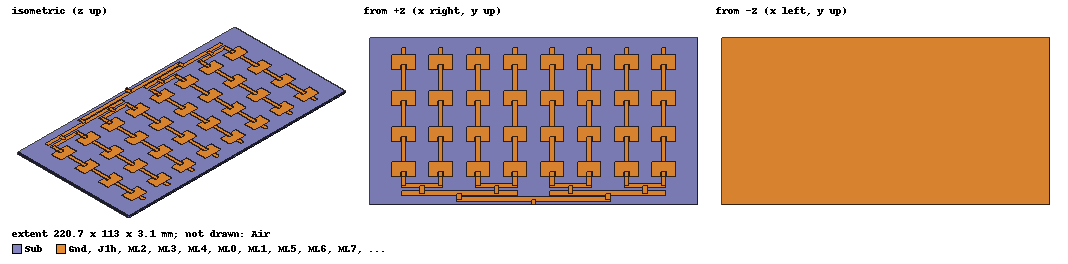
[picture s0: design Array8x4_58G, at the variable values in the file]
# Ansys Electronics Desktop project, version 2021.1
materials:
  vacuum: permittivity=1
  FR4_epoxy: permittivity=4.4 dielectric_loss_tangent=0.02

design Array8x4_58G (HFSS, DrivenModal, model units mm)
options: Save_Adaptive_support_files
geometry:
  Sub [FR4_epoxy] = box(corner=(0mm, 0mm, -1.6mm), size=(220.74mm, 113mm, 1.6mm))
  Gnd = rectangle(corner=(0mm, 0mm, -1.6mm), x_size=220.74mm, y_size=113mm)
  FeedIn = rectangle(corner=(108.82mm, 0mm, 0mm), x_size=3.1mm, y_size=4mm)
  J1h = rectangle(corner=(58.82mm, 2.45mm, 0mm), x_size=103.1mm, y_size=3.1mm)
  J1vl = rectangle(corner=(58.82mm, 4mm, 0mm), x_size=3.1mm, y_size=4mm)
  J1vr = rectangle(corner=(158.82mm, 4mm, 0mm), x_size=3.1mm, y_size=4mm)
  J2hL = rectangle(corner=(21.32mm, 6.45mm, 0mm), x_size=78.1mm, y_size=3.1mm)
  J2hR = rectangle(corner=(121.32mm, 6.45mm, 0mm), x_size=78.1mm, y_size=3.1mm)
  J2v_01 = rectangle(corner=(33.82mm, 8mm, 0mm), x_size=3.1mm, y_size=5mm)
  J2v_23 = rectangle(corner=(83.82mm, 8mm, 0mm), x_size=3.1mm, y_size=5mm)
  J2v_45 = rectangle(corner=(133.82mm, 8mm, 0mm), x_size=3.1mm, y_size=5mm)
  J2v_67 = rectangle(corner=(183.82mm, 8mm, 0mm), x_size=3.1mm, y_size=5mm)
  J3h_01 = rectangle(corner=(21.32mm, 11.45mm, 0mm), x_size=28.1mm, y_size=3.1mm)
  J3v_0 = rectangle(corner=(21.32mm, 13mm, 0mm), x_size=3.1mm, y_size=6mm)
  J3v_1 = rectangle(corner=(46.32mm, 13mm, 0mm), x_size=3.1mm, y_size=6mm)
  J3h_23 = rectangle(corner=(71.32mm, 11.45mm, 0mm), x_size=28.1mm, y_size=3.1mm)
  J3v_2 = rectangle(corner=(71.32mm, 13mm, 0mm), x_size=3.1mm, y_size=6mm)
  J3v_3 = rectangle(corner=(96.32mm, 13mm, 0mm), x_size=3.1mm, y_size=6mm)
  J3h_45 = rectangle(corner=(121.32mm, 11.45mm, 0mm), x_size=28.1mm, y_size=3.1mm)
  J3v_4 = rectangle(corner=(121.32mm, 13mm, 0mm), x_size=3.1mm, y_size=6mm)
  J3v_5 = rectangle(corner=(146.32mm, 13mm, 0mm), x_size=3.1mm, y_size=6mm)
  J3h_67 = rectangle(corner=(171.32mm, 11.45mm, 0mm), x_size=28.1mm, y_size=3.1mm)
  J3v_6 = rectangle(corner=(171.32mm, 13mm, 0mm), x_size=3.1mm, y_size=6mm)
  J3v_7 = rectangle(corner=(196.32mm, 13mm, 0mm), x_size=3.1mm, y_size=6mm)
  ML0 = rectangle(corner=(21.32mm, 19mm, 0mm), x_size=3.1mm, y_size=87mm)
  C0R0L = rectangle(corner=(15mm, 19mm, 0mm), x_size=5.82mm, y_size=10mm)
  C0R0R = rectangle(corner=(24.92mm, 19mm, 0mm), x_size=5.82mm, y_size=10mm)
  C0R0T = rectangle(corner=(15mm, 22.3mm, 0mm), x_size=15.74mm, y_size=6.7mm)
  C0R0L.unite(C0R0R, C0R0T)
  C0R1L = rectangle(corner=(15mm, 43mm, 0mm), x_size=5.82mm, y_size=10mm)
  C0R1R = rectangle(corner=(24.92mm, 43mm, 0mm), x_size=5.82mm, y_size=10mm)
  C0R1T = rectangle(corner=(15mm, 46.3mm, 0mm), x_size=15.74mm, y_size=6.7mm)
  C0R1L.unite(C0R1R, C0R1T)
  C0R2L = rectangle(corner=(15mm, 67mm, 0mm), x_size=5.82mm, y_size=10mm)
  C0R2R = rectangle(corner=(24.92mm, 67mm, 0mm), x_size=5.82mm, y_size=10mm)
  C0R2T = rectangle(corner=(15mm, 70.3mm, 0mm), x_size=15.74mm, y_size=6.7mm)
  C0R2L.unite(C0R2R, C0R2T)
  C0R3L = rectangle(corner=(15mm, 91mm, 0mm), x_size=5.82mm, y_size=10mm)
  C0R3R = rectangle(corner=(24.92mm, 91mm, 0mm), x_size=5.82mm, y_size=10mm)
  C0R3T = rectangle(corner=(15mm, 94.3mm, 0mm), x_size=15.74mm, y_size=6.7mm)
  C0R3L.unite(C0R3R, C0R3T)
  ML1 = rectangle(corner=(46.32mm, 19mm, 0mm), x_size=3.1mm, y_size=87mm)
  C1R0L = rectangle(corner=(40mm, 19mm, 0mm), x_size=5.82mm, y_size=10mm)
  C1R0R = rectangle(corner=(49.92mm, 19mm, 0mm), x_size=5.82mm, y_size=10mm)
  C1R0T = rectangle(corner=(40mm, 22.3mm, 0mm), x_size=15.74mm, y_size=6.7mm)
  C1R0L.unite(C1R0R, C1R0T)
  C1R1L = rectangle(corner=(40mm, 43mm, 0mm), x_size=5.82mm, y_size=10mm)
  C1R1R = rectangle(corner=(49.92mm, 43mm, 0mm), x_size=5.82mm, y_size=10mm)
  C1R1T = rectangle(corner=(40mm, 46.3mm, 0mm), x_size=15.74mm, y_size=6.7mm)
  C1R1L.unite(C1R1R, C1R1T)
  C1R2L = rectangle(corner=(40mm, 67mm, 0mm), x_size=5.82mm, y_size=10mm)
  C1R2R = rectangle(corner=(49.92mm, 67mm, 0mm), x_size=5.82mm, y_size=10mm)
  C1R2T = rectangle(corner=(40mm, 70.3mm, 0mm), x_size=15.74mm, y_size=6.7mm)
  C1R2L.unite(C1R2R, C1R2T)
  C1R3L = rectangle(corner=(40mm, 91mm, 0mm), x_size=5.82mm, y_size=10mm)
  C1R3R = rectangle(corner=(49.92mm, 91mm, 0mm), x_size=5.82mm, y_size=10mm)
  C1R3T = rectangle(corner=(40mm, 94.3mm, 0mm), x_size=15.74mm, y_size=6.7mm)
  C1R3L.unite(C1R3R, C1R3T)
  ML2 = rectangle(corner=(71.32mm, 19mm, 0mm), x_size=3.1mm, y_size=87mm)
  C2R0L = rectangle(corner=(65mm, 19mm, 0mm), x_size=5.82mm, y_size=10mm)
  C2R0R = rectangle(corner=(74.92mm, 19mm, 0mm), x_size=5.82mm, y_size=10mm)
  C2R0T = rectangle(corner=(65mm, 22.3mm, 0mm), x_size=15.74mm, y_size=6.7mm)
  C2R0L.unite(C2R0R, C2R0T)
  C2R1L = rectangle(corner=(65mm, 43mm, 0mm), x_size=5.82mm, y_size=10mm)
  C2R1R = rectangle(corner=(74.92mm, 43mm, 0mm), x_size=5.82mm, y_size=10mm)
  C2R1T = rectangle(corner=(65mm, 46.3mm, 0mm), x_size=15.74mm, y_size=6.7mm)
  C2R1L.unite(C2R1R, C2R1T)
  C2R2L = rectangle(corner=(65mm, 67mm, 0mm), x_size=5.82mm, y_size=10mm)
  C2R2R = rectangle(corner=(74.92mm, 67mm, 0mm), x_size=5.82mm, y_size=10mm)
  C2R2T = rectangle(corner=(65mm, 70.3mm, 0mm), x_size=15.74mm, y_size=6.7mm)
  C2R2L.unite(C2R2R, C2R2T)
  C2R3L = rectangle(corner=(65mm, 91mm, 0mm), x_size=5.82mm, y_size=10mm)
  C2R3R = rectangle(corner=(74.92mm, 91mm, 0mm), x_size=5.82mm, y_size=10mm)
  C2R3T = rectangle(corner=(65mm, 94.3mm, 0mm), x_size=15.74mm, y_size=6.7mm)
  C2R3L.unite(C2R3R, C2R3T)
  ML3 = rectangle(corner=(96.32mm, 19mm, 0mm), x_size=3.1mm, y_size=87mm)
  C3R0L = rectangle(corner=(90mm, 19mm, 0mm), x_size=5.82mm, y_size=10mm)
  C3R0R = rectangle(corner=(99.92mm, 19mm, 0mm), x_size=5.82mm, y_size=10mm)
  C3R0T = rectangle(corner=(90mm, 22.3mm, 0mm), x_size=15.74mm, y_size=6.7mm)
  C3R0L.unite(C3R0R, C3R0T)
  C3R1L = rectangle(corner=(90mm, 43mm, 0mm), x_size=5.82mm, y_size=10mm)
  C3R1R = rectangle(corner=(99.92mm, 43mm, 0mm), x_size=5.82mm, y_size=10mm)
  C3R1T = rectangle(corner=(90mm, 46.3mm, 0mm), x_size=15.74mm, y_size=6.7mm)
  C3R1L.unite(C3R1R, C3R1T)
  C3R2L = rectangle(corner=(90mm, 67mm, 0mm), x_size=5.82mm, y_size=10mm)
  C3R2R = rectangle(corner=(99.92mm, 67mm, 0mm), x_size=5.82mm, y_size=10mm)
  C3R2T = rectangle(corner=(90mm, 70.3mm, 0mm), x_size=15.74mm, y_size=6.7mm)
  C3R2L.unite(C3R2R, C3R2T)
  C3R3L = rectangle(corner=(90mm, 91mm, 0mm), x_size=5.82mm, y_size=10mm)
  C3R3R = rectangle(corner=(99.92mm, 91mm, 0mm), x_size=5.82mm, y_size=10mm)
  C3R3T = rectangle(corner=(90mm, 94.3mm, 0mm), x_size=15.74mm, y_size=6.7mm)
  C3R3L.unite(C3R3R, C3R3T)
  ML4 = rectangle(corner=(121.32mm, 19mm, 0mm), x_size=3.1mm, y_size=87mm)
  C4R0L = rectangle(corner=(115mm, 19mm, 0mm), x_size=5.82mm, y_size=10mm)
  C4R0R = rectangle(corner=(124.92mm, 19mm, 0mm), x_size=5.82mm, y_size=10mm)
  C4R0T = rectangle(corner=(115mm, 22.3mm, 0mm), x_size=15.74mm, y_size=6.7mm)
  C4R0L.unite(C4R0R, C4R0T)
  C4R1L = rectangle(corner=(115mm, 43mm, 0mm), x_size=5.82mm, y_size=10mm)
  C4R1R = rectangle(corner=(124.92mm, 43mm, 0mm), x_size=5.82mm, y_size=10mm)
  C4R1T = rectangle(corner=(115mm, 46.3mm, 0mm), x_size=15.74mm, y_size=6.7mm)
  C4R1L.unite(C4R1R, C4R1T)
  C4R2L = rectangle(corner=(115mm, 67mm, 0mm), x_size=5.82mm, y_size=10mm)
  C4R2R = rectangle(corner=(124.92mm, 67mm, 0mm), x_size=5.82mm, y_size=10mm)
  C4R2T = rectangle(corner=(115mm, 70.3mm, 0mm), x_size=15.74mm, y_size=6.7mm)
  C4R2L.unite(C4R2R, C4R2T)
  C4R3L = rectangle(corner=(115mm, 91mm, 0mm), x_size=5.82mm, y_size=10mm)
  C4R3R = rectangle(corner=(124.92mm, 91mm, 0mm), x_size=5.82mm, y_size=10mm)
  C4R3T = rectangle(corner=(115mm, 94.3mm, 0mm), x_size=15.74mm, y_size=6.7mm)
  C4R3L.unite(C4R3R, C4R3T)
  ML5 = rectangle(corner=(146.32mm, 19mm, 0mm), x_size=3.1mm, y_size=87mm)
  C5R0L = rectangle(corner=(140mm, 19mm, 0mm), x_size=5.82mm, y_size=10mm)
  C5R0R = rectangle(corner=(149.92mm, 19mm, 0mm), x_size=5.82mm, y_size=10mm)
  C5R0T = rectangle(corner=(140mm, 22.3mm, 0mm), x_size=15.74mm, y_size=6.7mm)
  C5R0L.unite(C5R0R, C5R0T)
  C5R1L = rectangle(corner=(140mm, 43mm, 0mm), x_size=5.82mm, y_size=10mm)
  C5R1R = rectangle(corner=(149.92mm, 43mm, 0mm), x_size=5.82mm, y_size=10mm)
  C5R1T = rectangle(corner=(140mm, 46.3mm, 0mm), x_size=15.74mm, y_size=6.7mm)
  C5R1L.unite(C5R1R, C5R1T)
  C5R2L = rectangle(corner=(140mm, 67mm, 0mm), x_size=5.82mm, y_size=10mm)
  C5R2R = rectangle(corner=(149.92mm, 67mm, 0mm), x_size=5.82mm, y_size=10mm)
  C5R2T = rectangle(corner=(140mm, 70.3mm, 0mm), x_size=15.74mm, y_size=6.7mm)
  C5R2L.unite(C5R2R, C5R2T)
  C5R3L = rectangle(corner=(140mm, 91mm, 0mm), x_size=5.82mm, y_size=10mm)
  C5R3R = rectangle(corner=(149.92mm, 91mm, 0mm), x_size=5.82mm, y_size=10mm)
  C5R3T = rectangle(corner=(140mm, 94.3mm, 0mm), x_size=15.74mm, y_size=6.7mm)
  C5R3L.unite(C5R3R, C5R3T)
  ML6 = rectangle(corner=(171.32mm, 19mm, 0mm), x_size=3.1mm, y_size=87mm)
  C6R0L = rectangle(corner=(165mm, 19mm, 0mm), x_size=5.82mm, y_size=10mm)
  C6R0R = rectangle(corner=(174.92mm, 19mm, 0mm), x_size=5.82mm, y_size=10mm)
  C6R0T = rectangle(corner=(165mm, 22.3mm, 0mm), x_size=15.74mm, y_size=6.7mm)
  C6R0L.unite(C6R0R, C6R0T)
  C6R1L = rectangle(corner=(165mm, 43mm, 0mm), x_size=5.82mm, y_size=10mm)
  C6R1R = rectangle(corner=(174.92mm, 43mm, 0mm), x_size=5.82mm, y_size=10mm)
  C6R1T = rectangle(corner=(165mm, 46.3mm, 0mm), x_size=15.74mm, y_size=6.7mm)
  C6R1L.unite(C6R1R, C6R1T)
  C6R2L = rectangle(corner=(165mm, 67mm, 0mm), x_size=5.82mm, y_size=10mm)
  C6R2R = rectangle(corner=(174.92mm, 67mm, 0mm), x_size=5.82mm, y_size=10mm)
  C6R2T = rectangle(corner=(165mm, 70.3mm, 0mm), x_size=15.74mm, y_size=6.7mm)
  C6R2L.unite(C6R2R, C6R2T)
  C6R3L = rectangle(corner=(165mm, 91mm, 0mm), x_size=5.82mm, y_size=10mm)
  C6R3R = rectangle(corner=(174.92mm, 91mm, 0mm), x_size=5.82mm, y_size=10mm)
  C6R3T = rectangle(corner=(165mm, 94.3mm, 0mm), x_size=15.74mm, y_size=6.7mm)
  C6R3L.unite(C6R3R, C6R3T)
  ML7 = rectangle(corner=(196.32mm, 19mm, 0mm), x_size=3.1mm, y_size=87mm)
  C7R0L = rectangle(corner=(190mm, 19mm, 0mm), x_size=5.82mm, y_size=10mm)
  C7R0R = rectangle(corner=(199.92mm, 19mm, 0mm), x_size=5.82mm, y_size=10mm)
  C7R0T = rectangle(corner=(190mm, 22.3mm, 0mm), x_size=15.74mm, y_size=6.7mm)
  C7R0L.unite(C7R0R, C7R0T)
  C7R1L = rectangle(corner=(190mm, 43mm, 0mm), x_size=5.82mm, y_size=10mm)
  C7R1R = rectangle(corner=(199.92mm, 43mm, 0mm), x_size=5.82mm, y_size=10mm)
  C7R1T = rectangle(corner=(190mm, 46.3mm, 0mm), x_size=15.74mm, y_size=6.7mm)
  C7R1L.unite(C7R1R, C7R1T)
  C7R2L = rectangle(corner=(190mm, 67mm, 0mm), x_size=5.82mm, y_size=10mm)
  C7R2R = rectangle(corner=(199.92mm, 67mm, 0mm), x_size=5.82mm, y_size=10mm)
  C7R2T = rectangle(corner=(190mm, 70.3mm, 0mm), x_size=15.74mm, y_size=6.7mm)
  C7R2L.unite(C7R2R, C7R2T)
  C7R3L = rectangle(corner=(190mm, 91mm, 0mm), x_size=5.82mm, y_size=10mm)
  C7R3R = rectangle(corner=(199.92mm, 91mm, 0mm), x_size=5.82mm, y_size=10mm)
  C7R3T = rectangle(corner=(190mm, 94.3mm, 0mm), x_size=15.74mm, y_size=6.7mm)
  C7R3L.unite(C7R3R, C7R3T)
  Port1 = rectangle(corner=(108.82mm, 0mm, -1.6mm), z_size=3.1mm, x_size=1.6mm)
  Air [vacuum] = box(corner=(-15mm, -15mm, -16.6mm), size=(250.74mm, 143mm, 31.6mm))
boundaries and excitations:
  PE1: Perfect E Objects=Gnd
  PE2: Perfect E Objects=FeedIn
  PE3: Perfect E Objects=J1h
  PE4: Perfect E Objects=J1vl
  PE5: Perfect E Objects=J1vr
  PE6: Perfect E Objects=J2hL
  PE7: Perfect E Objects=J2hR
  PE8: Perfect E Objects=J2v_01
  PE9: Perfect E Objects=J2v_23
  PE10: Perfect E Objects=J2v_45
  PE11: Perfect E Objects=J2v_67
  PE12: Perfect E Objects=J3h_01
  PE13: Perfect E Objects=J3v_0
  PE14: Perfect E Objects=J3v_1
  PE15: Perfect E Objects=J3h_23
  PE16: Perfect E Objects=J3v_2
  PE17: Perfect E Objects=J3v_3
  PE18: Perfect E Objects=J3h_45
  PE19: Perfect E Objects=J3v_4
  PE20: Perfect E Objects=J3v_5
  PE21: Perfect E Objects=J3h_67
  PE22: Perfect E Objects=J3v_6
  PE23: Perfect E Objects=J3v_7
  PE24: Perfect E Objects=ML0
  PE25: Perfect E Objects=C0R0L
  PE26: Perfect E Objects=C0R1L
  PE27: Perfect E Objects=C0R2L
  PE28: Perfect E Objects=C0R3L
  PE29: Perfect E Objects=ML1
  PE30: Perfect E Objects=C1R0L
  PE31: Perfect E Objects=C1R1L
  PE32: Perfect E Objects=C1R2L
  PE33: Perfect E Objects=C1R3L
  PE34: Perfect E Objects=ML2
  PE35: Perfect E Objects=C2R0L
  PE36: Perfect E Objects=C2R1L
  PE37: Perfect E Objects=C2R2L
  PE38: Perfect E Objects=C2R3L
  PE39: Perfect E Objects=ML3
  PE40: Perfect E Objects=C3R0L
  PE41: Perfect E Objects=C3R1L
  PE42: Perfect E Objects=C3R2L
  PE43: Perfect E Objects=C3R3L
  PE44: Perfect E Objects=ML4
  PE45: Perfect E Objects=C4R0L
  PE46: Perfect E Objects=C4R1L
  PE47: Perfect E Objects=C4R2L
  PE48: Perfect E Objects=C4R3L
  PE49: Perfect E Objects=ML5
  PE50: Perfect E Objects=C5R0L
  PE51: Perfect E Objects=C5R1L
  PE52: Perfect E Objects=C5R2L
  PE53: Perfect E Objects=C5R3L
  PE54: Perfect E Objects=ML6
  PE55: Perfect E Objects=C6R0L
  PE56: Perfect E Objects=C6R1L
  PE57: Perfect E Objects=C6R2L
  PE58: Perfect E Objects=C6R3L
  PE59: Perfect E Objects=ML7
  PE60: Perfect E Objects=C7R0L
  PE61: Perfect E Objects=C7R1L
  PE62: Perfect E Objects=C7R2L
  PE63: Perfect E Objects=C7R3L
  Rad: Radiation Objects=Air
  1: Lumped Port Objects=Port1 Modes{Mode1{IntLine{Port1.edge(z at corner) at 0.0312 along -> middle of FeedIn.edge(y at corner)} CharImp=Zpi RenormImp=50ohm}} Impedance=50ohm
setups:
  Setup1: HfssDriven Frequency=5.8GHz MaxDeltaS=0.01 MaximumPasses=10 MinimumPasses=1 MinimumConvergedPasses=1 PercentRefinement=30 BasisOrder=1 PortAccuracy=2
    sweep Sweep: 5GHz to 7GHz, 201 points; Type=Interpolating InterpTolerance=0.5 InterpMaxSolns=250 InterpUsePortImped=false PassivityErrorTolerance=0.0001
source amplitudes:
  1:1: 1W 0deg
